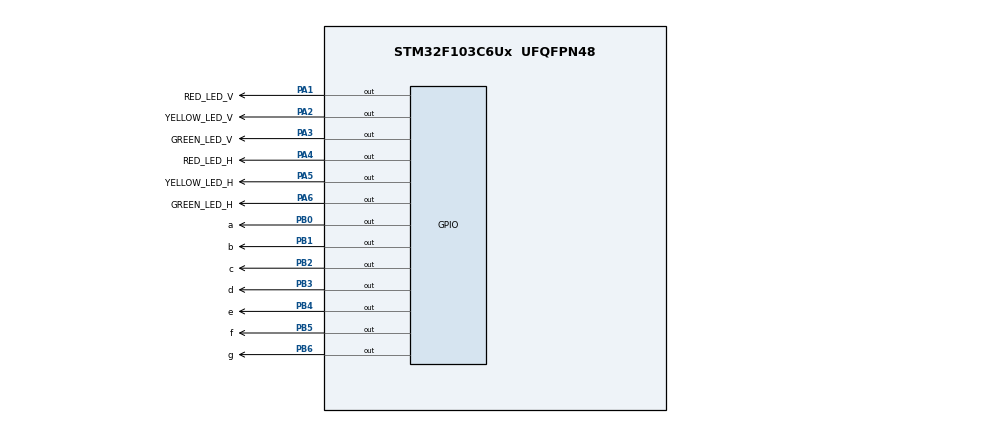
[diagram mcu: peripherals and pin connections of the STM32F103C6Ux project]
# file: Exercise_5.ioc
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Mcu.Family=STM32F1
Mcu.Name=STM32F103C6Ux
Mcu.Package=UFQFPN48
NVIC.PriorityGroup=NVIC_PRIORITYGROUP_4
PA1.GPIO_Label=RED_LED_V
PA1.Signal=GPIO_Output
PA2.GPIO_Label=YELLOW_LED_V
PA2.Signal=GPIO_Output
PA3.GPIO_Label=GREEN_LED_V
PA3.Signal=GPIO_Output
PA4.GPIO_Label=RED_LED_H
PA4.Signal=GPIO_Output
PA5.GPIO_Label=YELLOW_LED_H
PA5.Signal=GPIO_Output
PA6.GPIO_Label=GREEN_LED_H
PA6.Signal=GPIO_Output
PB0.GPIO_Label=a
PB0.Signal=GPIO_Output
PB1.GPIO_Label=b
PB1.Signal=GPIO_Output
PB2.GPIO_Label=c
PB2.Signal=GPIO_Output
PB3.GPIO_Label=d
PB3.Signal=GPIO_Output
PB4.GPIO_Label=e
PB4.Signal=GPIO_Output
PB5.GPIO_Label=f
PB5.Signal=GPIO_Output
PB6.GPIO_Label=g
PB6.Signal=GPIO_Output
ProjectManager.HeapSize=0x200
ProjectManager.StackSize=0x400
ProjectManager.TargetToolchain=STM32CubeIDE
RCC.APB1Freq_Value=8000000
RCC.APB2Freq_Value=8000000
VP_SYS_VS_ND.Mode=No_Debug
board=custom

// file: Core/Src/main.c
/* USER CODE BEGIN Header */
/**
  ******************************************************************************
  * @file           : main.c
  * @brief          : 4-Way Traffic Light with 7-Segment Countdown
  ******************************************************************************
  */
/* USER CODE END Header */

#include "main.h"

void SystemClock_Config(void);
static void MX_GPIO_Init(void);
void display7SEG(uint8_t num);
void countdownSEG(uint8_t num);

int main(void)
{
  /* MCU Configuration--------------------------------------------------------*/
  HAL_Init();
  SystemClock_Config();
  MX_GPIO_Init();

  /* Infinite loop */
  /* USER CODE BEGIN WHILE */
  while (1)
    {
        // ------------------------------------------------------------------
        // PHASE 1: Vertical GREEN (2 -> 0, 3s) | Horizontal RED
        // ------------------------------------------------------------------
        HAL_GPIO_WritePin(GREEN_LED_V_GPIO_Port, GREEN_LED_V_Pin, GPIO_PIN_RESET); // V GREEN ON
        HAL_GPIO_WritePin(YELLOW_LED_V_GPIO_Port, YELLOW_LED_V_Pin, GPIO_PIN_SET);
        HAL_GPIO_WritePin(RED_LED_V_GPIO_Port, RED_LED_V_Pin, GPIO_PIN_SET);

        HAL_GPIO_WritePin(RED_LED_H_GPIO_Port, RED_LED_H_Pin, GPIO_PIN_RESET);     // H RED ON
        HAL_GPIO_WritePin(YELLOW_LED_H_GPIO_Port, YELLOW_LED_H_Pin, GPIO_PIN_SET);
        HAL_GPIO_WritePin(GREEN_LED_H_GPIO_Port, GREEN_LED_H_Pin, GPIO_PIN_SET);

        countdownSEG(2); // Counts 2, 1, 0 (3 seconds)

        // ------------------------------------------------------------------
        // PHASE 2: Vertical YELLOW (1 -> 0, 2s) | Horizontal RED
        // ------------------------------------------------------------------
        HAL_GPIO_WritePin(GREEN_LED_V_GPIO_Port, GREEN_LED_V_Pin, GPIO_PIN_SET);
        HAL_GPIO_WritePin(YELLOW_LED_V_GPIO_Port, YELLOW_LED_V_Pin, GPIO_PIN_RESET); // V YELLOW ON

        countdownSEG(1); // Counts 1, 0 (2 seconds)

        // ------------------------------------------------------------------
        // PHASE 3: Vertical RED (4 -> 0, 5s) | Horizontal GREEN (3s) -> YELLOW (2s)
        // ------------------------------------------------------------------
        HAL_GPIO_WritePin(YELLOW_LED_V_GPIO_Port, YELLOW_LED_V_Pin, GPIO_PIN_SET);
        HAL_GPIO_WritePin(RED_LED_V_GPIO_Port, RED_LED_V_Pin, GPIO_PIN_RESET);     // V RED ON

        HAL_GPIO_WritePin(RED_LED_H_GPIO_Port, RED_LED_H_Pin, GPIO_PIN_SET);       // H RED OFF

        for (int i = 4; i >= 0; i--)
        {
            if (i >= 2) // Counts 4, 3, 2 (3s): Horizontal GREEN
            {
                HAL_GPIO_WritePin(GREEN_LED_H_GPIO_Port, GREEN_LED_H_Pin, GPIO_PIN_RESET); // H GREEN ON
                HAL_GPIO_WritePin(YELLOW_LED_H_GPIO_Port, YELLOW_LED_H_Pin, GPIO_PIN_SET);
            }
            else // Counts 1, 0 (2s): Horizontal YELLOW
            {
                HAL_GPIO_WritePin(GREEN_LED_H_GPIO_Port, GREEN_LED_H_Pin, GPIO_PIN_SET);
                HAL_GPIO_WritePin(YELLOW_LED_H_GPIO_Port, YELLOW_LED_H_Pin, GPIO_PIN_RESET); // H YELLOW ON
            }

            display7SEG(i);
            HAL_Delay(1000);
        }
    }
  /* USER CODE END 3 */
}

/* USER CODE BEGIN 4 */
void display7SEG(uint8_t num) {
    if (num > 9) return;

    // Common Anode Truth Table (0 = ON, 1 = OFF)[cite: 5]
    uint8_t seg[10][7] = {
        {0,0,0,0,0,0,1}, // 0
        {1,0,0,1,1,1,1}, // 1
        {0,0,1,0,0,1,0}, // 2
        {0,0,0,0,1,1,0}, // 3
        {1,0,0,1,1,0,0}, // 4
        {0,1,0,0,1,0,0}, // 5
        {0,1,0,0,0,0,0}, // 6
        {0,0,0,1,1,1,1}, // 7
        {0,0,0,0,0,0,0}, // 8
        {0,0,0,0,1,0,0}  // 9
    };

    HAL_GPIO_WritePin(a_GPIO_Port, a_Pin, seg[num][0] ? GPIO_PIN_SET : GPIO_PIN_RESET);
    HAL_GPIO_WritePin(b_GPIO_Port, b_Pin, seg[num][1] ? GPIO_PIN_SET : GPIO_PIN_RESET);
    HAL_GPIO_WritePin(c_GPIO_Port, c_Pin, seg[num][2] ? GPIO_PIN_SET : GPIO_PIN_RESET);
    HAL_GPIO_WritePin(d_GPIO_Port, d_Pin, seg[num][3] ? GPIO_PIN_SET : GPIO_PIN_RESET);
    HAL_GPIO_WritePin(e_GPIO_Port, e_Pin, seg[num][4] ? GPIO_PIN_SET : GPIO_PIN_RESET);
    HAL_GPIO_WritePin(f_GPIO_Port, f_Pin, seg[num][5] ? GPIO_PIN_SET : GPIO_PIN_RESET);
    HAL_GPIO_WritePin(g_GPIO_Port, g_Pin, seg[num][6] ? GPIO_PIN_SET : GPIO_PIN_RESET);
}

void countdownSEG(uint8_t num) {
    for (int i = num; i >= 0; i--) {
        display7SEG(i);
        HAL_Delay(1000);
    }
}
/* USER CODE END 4 */

void SystemClock_Config(void)
{
  RCC_OscInitTypeDef RCC_OscInitStruct = {0};
  RCC_ClkInitTypeDef RCC_ClkInitStruct = {0};

  RCC_OscInitStruct.OscillatorType = RCC_OSCILLATORTYPE_HSI;
  RCC_OscInitStruct.HSIState = RCC_HSI_ON;
  RCC_OscInitStruct.HSICalibrationValue = RCC_HSICALIBRATION_DEFAULT;
  RCC_OscInitStruct.PLL.PLLState = RCC_PLL_NONE;
  if (HAL_RCC_OscConfig(&RCC_OscInitStruct) != HAL_OK)
  {
    Error_Handler();
  }

  RCC_ClkInitStruct.ClockType = RCC_CLOCKTYPE_HCLK|RCC_CLOCKTYPE_SYSCLK
                              |RCC_CLOCKTYPE_PCLK1|RCC_CLOCKTYPE_PCLK2;
  RCC_ClkInitStruct.SYSCLKSource = RCC_SYSCLKSOURCE_HSI;
  RCC_ClkInitStruct.AHBCLKDivider = RCC_SYSCLK_DIV1;
  RCC_ClkInitStruct.APB1CLKDivider = RCC_HCLK_DIV1;
  RCC_ClkInitStruct.APB2CLKDivider = RCC_HCLK_DIV1;

  if (HAL_RCC_ClockConfig(&RCC_ClkInitStruct, FLASH_LATENCY_0) != HAL_OK)
  {
    Error_Handler();
  }
}

static void MX_GPIO_Init(void)
{
  GPIO_InitTypeDef GPIO_InitStruct = {0};

  /* GPIO Ports Clock Enable */
  __HAL_RCC_GPIOA_CLK_ENABLE();
  __HAL_RCC_GPIOB_CLK_ENABLE();

  /* Configure GPIO pin Output Level (Set HIGH = OFF initially)[cite: 5] */
  HAL_GPIO_WritePin(GPIOA, RED_LED_V_Pin|YELLOW_LED_V_Pin|GREEN_LED_V_Pin|RED_LED_H_Pin
                          |YELLOW_LED_H_Pin|GREEN_LED_H_Pin, GPIO_PIN_SET);

  HAL_GPIO_WritePin(GPIOB, a_Pin|b_Pin|c_Pin|d_Pin
                          |e_Pin|f_Pin|g_Pin, GPIO_PIN_SET);

  /* Configure GPIO pins : PA1 - PA6[cite: 4] */
  GPIO_InitStruct.Pin = RED_LED_V_Pin|YELLOW_LED_V_Pin|GREEN_LED_V_Pin|RED_LED_H_Pin
                        |YELLOW_LED_H_Pin|GREEN_LED_H_Pin;
  GPIO_InitStruct.Mode = GPIO_MODE_OUTPUT_PP;
  GPIO_InitStruct.Pull = GPIO_NOPULL;
  GPIO_InitStruct.Speed = GPIO_SPEED_FREQ_LOW;
  HAL_GPIO_Init(GPIOA, &GPIO_InitStruct);

  /* Configure GPIO pins : PB0 - PB6[cite: 4] */
  GPIO_InitStruct.Pin = a_Pin|b_Pin|c_Pin|d_Pin
                        |e_Pin|f_Pin|g_Pin;
  GPIO_InitStruct.Mode = GPIO_MODE_OUTPUT_PP;
  GPIO_InitStruct.Pull = GPIO_NOPULL;
  GPIO_InitStruct.Speed = GPIO_SPEED_FREQ_LOW;
  HAL_GPIO_Init(GPIOB, &GPIO_InitStruct);
}

void Error_Handler(void)
{
  __disable_irq();
  while (1)
  {
  }
}
